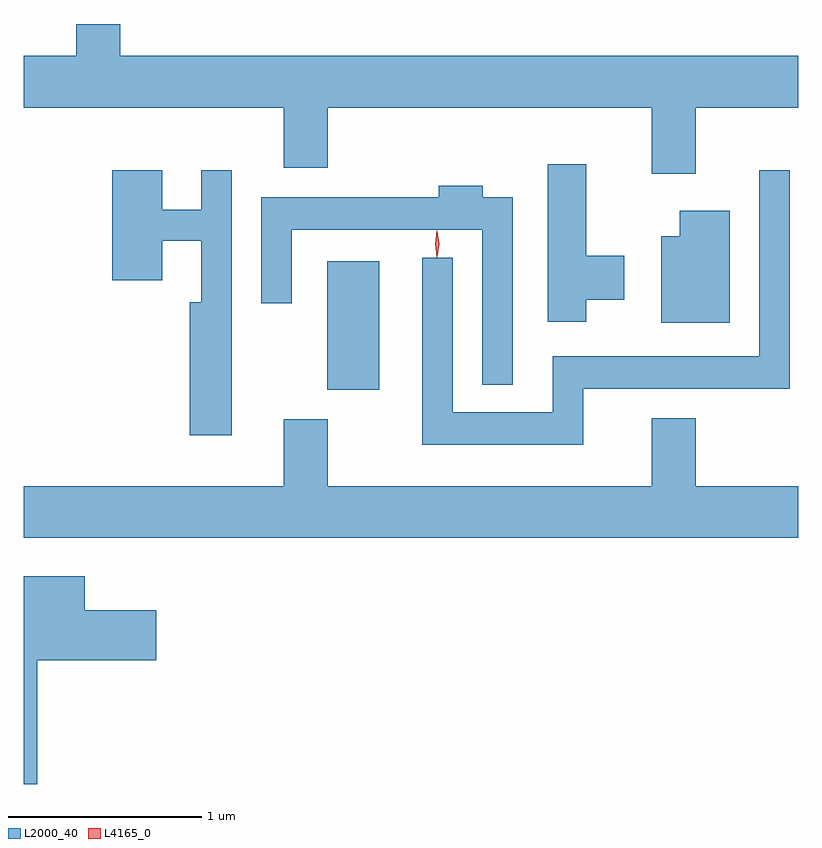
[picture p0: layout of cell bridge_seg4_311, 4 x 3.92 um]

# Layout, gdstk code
import gdstk
lib = gdstk.Library(unit=1e-6, precision=1e-09)
def R(c, l, rs):  # rectangles x0, y0, x1, y1
    for r in rs: c.add(gdstk.rectangle(r[:2], r[2:], *l))
def P(c, l, *ps):  # polygons
    for p in ps: c.add(gdstk.Polygon(p, *l))
L2000_40 = (2000, 40)
L4165_0 = (4165, 0)

bridge_seg4_311 = lib.new_cell('bridge_seg4_311')
R(bridge_seg4_311, L2000_40, [(540.496,1311.041,540.764,1311.704)])
P(bridge_seg4_311, L2000_40, [(542.399,1312.496),(542.929,1312.496),(542.929,1312.764),(539.429,1312.764),(539.429,1312.929),(539.201,1312.929),(539.201,1312.764),(538.929,1312.764),(538.929,1312.496),(540.271,1312.496),(540.271,1312.186),(540.499,1312.186),(540.499,1312.496),(542.171,1312.496),(542.171,1312.156),(542.399,1312.156)],
  [(541.834,1311.506),(542.029,1311.506),(542.029,1311.734),(541.834,1311.734),(541.834,1312.204),(541.636,1312.204),(541.636,1311.391),(541.834,1311.391)],
  [(540.004,1312.173),(539.846,1312.173),(539.846,1311.969),(539.644,1311.969),(539.644,1312.174),(539.386,1312.174),(539.386,1311.606),(539.644,1311.606),(539.644,1311.811),(539.846,1311.811),(539.846,1311.494),(539.786,1311.494),(539.786,1310.806),(540.004,1310.806)],
  [(541.819,1311.046),(542.884,1311.046),(542.884,1312.173),(542.726,1312.173),(542.726,1311.214),(541.661,1311.214),(541.661,1310.924),(541.144,1310.924),(541.144,1311.723),(540.986,1311.723),(540.986,1310.756),(541.819,1310.756)],
  [(541.454,1312.034),(541.299,1312.034),(541.299,1312.094),(541.071,1312.094),(541.071,1312.034),(540.156,1312.034),(540.156,1311.488),(540.314,1311.488),(540.314,1311.866),(541.296,1311.866),(541.296,1311.068),(541.454,1311.068)],
  [(542.574,1311.964),(542.316,1311.964),(542.316,1311.834),(542.221,1311.834),(542.221,1311.386),(542.574,1311.386)],
  [(542.929,1310.544),(542.399,1310.544),(542.399,1310.894),(542.171,1310.894),(542.171,1310.544),(540.499,1310.544),(540.499,1310.889),(540.271,1310.889),(540.271,1310.544),(538.929,1310.544),(538.929,1310.276),(542.929,1310.276)],
  [(538.999,1309.646),(539.614,1309.646),(539.614,1309.904),(539.244,1309.904),(539.244,1310.079),(538.929,1310.079),(538.929,1309.006),(538.999,1309.006)])
P(bridge_seg4_311, L4165_0, [(541.064,1311.727),(541.055,1311.794),(541.064,1311.86),(541.064,1311.86),(541.065,1311.86),(541.074,1311.794),(541.065,1311.727),(541.065,1311.727)],
  [(541.063,1311.724),(541.054,1311.793),(541.063,1311.862),(541.064,1311.863),(541.064,1311.862),(541.074,1311.793),(541.064,1311.724),(541.064,1311.724)])

lib.write_gds('bridge_seg4_311.gds')
